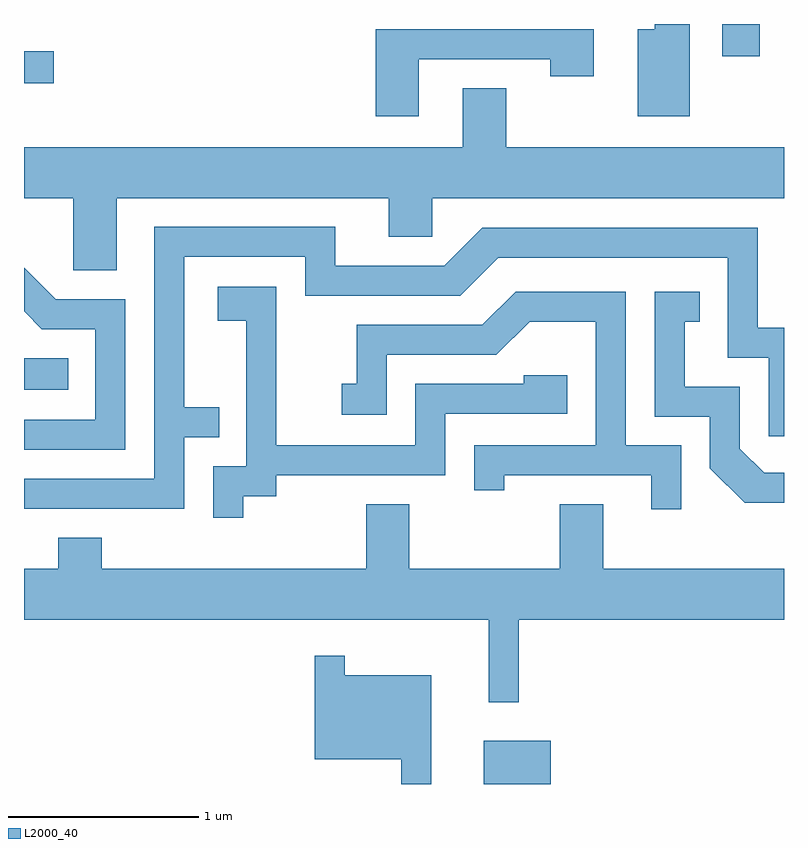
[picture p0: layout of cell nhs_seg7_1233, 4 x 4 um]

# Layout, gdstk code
import gdstk
lib = gdstk.Library(unit=1e-6, precision=1e-09)
def R(c, l, rs):  # rectangles x0, y0, x1, y1
    for r in rs: c.add(gdstk.rectangle(r[:2], r[2:], *l))
def P(c, l, *ps):  # polygons
    for p in ps: c.add(gdstk.Polygon(p, *l))
L2000_40 = (2000, 40)

nhs_seg7_1233 = lib.new_cell('nhs_seg7_1233')
R(nhs_seg7_1233, L2000_40, [(224.031,1802.252,224.384,1802.479), (221.611,1804.326,221.843,1804.494), (221.611,1805.941,221.768,1806.109), (225.286,1806.081,225.484,1806.252)])
P(nhs_seg7_1233, L2000_40, [(225.114,1806.252),(224.931,1806.252),(224.931,1806.224),(224.841,1806.224),(224.841,1805.766),(225.114,1805.766)],
  [(223.689,1806.066),(224.381,1806.066),(224.381,1805.976),(224.609,1805.976),(224.609,1806.224),(223.461,1806.224),(223.461,1805.766),(223.689,1805.766)],
  [(222.099,1805.336),(223.531,1805.336),(223.531,1805.131),(223.759,1805.131),(223.759,1805.336),(225.611,1805.336),(225.611,1805.604),(224.149,1805.604),(224.149,1805.914),(223.921,1805.914),(223.921,1805.604),(221.611,1805.604),(221.611,1805.336),(221.871,1805.336),(221.871,1804.956),(222.099,1804.956)],
  [(222.454,1804.076),(222.638,1804.076),(222.638,1804.234),(222.454,1804.234),(222.454,1805.026),(223.091,1805.026),(223.091,1804.821),(223.907,1804.821),(224.107,1805.021),(225.316,1805.021),(225.316,1804.496),(225.531,1804.496),(225.531,1804.081),(225.611,1804.081),(225.611,1804.654),(225.474,1804.654),(225.474,1805.179),(224.024,1805.179),(223.824,1804.979),(223.249,1804.979),(223.249,1805.184),(222.296,1805.184),(222.296,1803.859),(221.611,1803.859),(221.611,1803.701),(222.454,1803.701)],
  [(222.144,1804.804),(221.777,1804.804),(221.611,1804.97),(221.611,1804.739),(221.704,1804.646),(221.986,1804.646),(221.986,1804.169),(221.611,1804.169),(221.611,1804.011),(222.144,1804.011)],
  [(222.764,1803.766),(222.939,1803.766),(222.939,1803.876),(223.829,1803.876),(223.829,1804.201),(224.469,1804.201),(224.469,1804.404),(224.241,1804.404),(224.241,1804.359),(223.671,1804.359),(223.671,1804.034),(222.939,1804.034),(222.939,1804.869),(222.631,1804.869),(222.631,1804.691),(222.781,1804.691),(222.781,1803.924),(222.606,1803.924),(222.606,1803.653),(222.764,1803.653)],
  [(225.069,1804.034),(224.779,1804.034),(224.779,1804.844),(224.199,1804.844),(224.024,1804.669),(223.361,1804.669),(223.361,1804.359),(223.283,1804.359),(223.283,1804.196),(223.519,1804.196),(223.519,1804.511),(224.097,1804.511),(224.272,1804.686),(224.621,1804.686),(224.621,1804.034),(223.981,1804.034),(223.981,1803.798),(224.139,1803.798),(224.139,1803.876),(224.911,1803.876),(224.911,1803.698),(225.069,1803.698)],
  [(225.611,1803.889),(225.507,1803.889),(225.379,1804.017),(225.379,1804.344),(225.089,1804.344),(225.089,1804.686),(225.168,1804.686),(225.168,1804.844),(224.931,1804.844),(224.931,1804.186),(225.221,1804.186),(225.221,1803.914),(225.404,1803.731),(225.611,1803.731)],
  [(224.214,1803.116),(225.611,1803.116),(225.611,1803.384),(224.659,1803.384),(224.659,1803.724),(224.431,1803.724),(224.431,1803.384),(223.639,1803.384),(223.639,1803.724),(223.411,1803.724),(223.411,1803.384),(222.019,1803.384),(222.019,1803.549),(221.791,1803.549),(221.791,1803.384),(221.611,1803.384),(221.611,1803.116),(224.056,1803.116),(224.056,1802.683),(224.214,1802.683)],
  [(223.754,1802.824),(223.299,1802.824),(223.299,1802.928),(223.141,1802.928),(223.141,1802.381),(223.596,1802.381),(223.596,1802.252),(223.754,1802.252)])

lib.write_gds('nhs_seg7_1233.gds')
